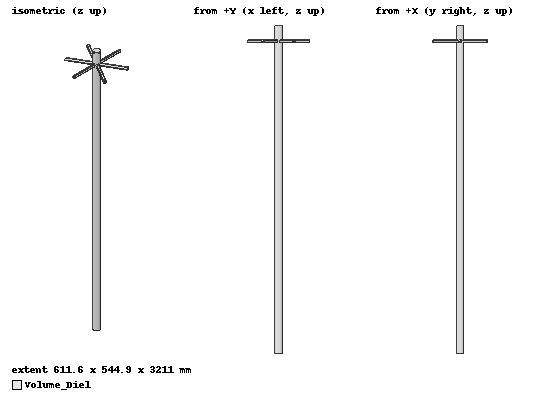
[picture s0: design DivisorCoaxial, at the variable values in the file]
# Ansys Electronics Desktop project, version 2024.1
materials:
  vacuum: permittivity=1
  Ar: permittivity=1.0006 permeability=1
  pec: conductivity=1e+30
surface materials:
  Steel-oxidised-surface

design DivisorCoaxial (HFSS, HFSS Modal Network, model units mm)
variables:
  comp_total = 3211.0989mm
  comp_secoes = 3058.1894mm
  dia_int_tubo = 76.214mm
  dia_saida_diel = dia_int_tubo / 2.5
  dia_saida_cond = (dia_int_tubo / 2.5) / 2.3
  comp_saida = 305.81894mm
  dia_sc1 = 39.122428mm
  dia_sc2 = 49.77269mm
  dia_sc3 = 58.050023mm
  dia_sc4 = 64.045852mm
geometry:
  Volume_Diel [Ar] = cylinder(axis=Z, base_centre=(0mm, 0mm, 0mm), radius=dia_int_tubo/2, height=comp_total)
  Condutor_Unico [pec] = cylinder(axis=Z, base_centre=(0mm, 0mm, 0mm), radius=dia_sc1/2, height=764.54735mm)
  Cond_Sec2 = cylinder(axis=Z, base_centre=(0mm, 0mm, 764.54735mm), radius=dia_sc2/2, height=764.54735mm)
  Cond_Sec3 = cylinder(axis=Z, base_centre=(0mm, 0mm, 1529.0947mm), radius=dia_sc3/2, height=764.54735mm)
  Cond_Sec4 = cylinder(axis=Z, base_centre=(0mm, 0mm, 2293.642mm), radius=dia_sc4/2, height=764.54735mm)
  Output_Outer_1 = cylinder(axis=X, base_centre=(0mm, 0mm, comp_secoes), radius=dia_saida_diel/2, height=comp_saida)
  Output_Inner_1 = cylinder(axis=X, base_centre=(0mm, 0mm, comp_secoes), radius=dia_saida_cond/2, height=comp_saida)
  Output_Outer_1_1..Output_Outer_1_5 = Output_Outer_1.duplicate_around_axis(axis=Z, angle=360deg/6, total=6)
  Output_Inner_1_1..Output_Inner_1_5 = Output_Inner_1.duplicate_around_axis(axis=Z, angle=360deg/6, total=6)
  Volume_Diel.unite(Output_Outer_1, Output_Outer_1_1..Output_Outer_1_5)
  Condutor_Unico.unite(Cond_Sec2, Cond_Sec3, Cond_Sec4, Output_Inner_1, Output_Inner_1_1..Output_Inner_1_5)
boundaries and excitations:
  P1: Wave Port Faces=Volume_Diel.face(-z end) WavePortType=Modal NumModes=1 Modes{Mode1{CharImp=Zpi RenormImp=50ohm}}
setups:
  Setup1: HfssDriven Frequency=0.098GHz MaxDeltaS=0.02 MaximumPasses=8 MinimumPasses=1 MinimumConvergedPasses=1 PercentRefinement=30 BasisOrder=1 PortAccuracy=2 DrivenSolverType="Direct Solver"
    sweep Sweep1: 88MHz to 108MHz, 201 points; Type=Fast
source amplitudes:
  P1:1: 1W 0deg
